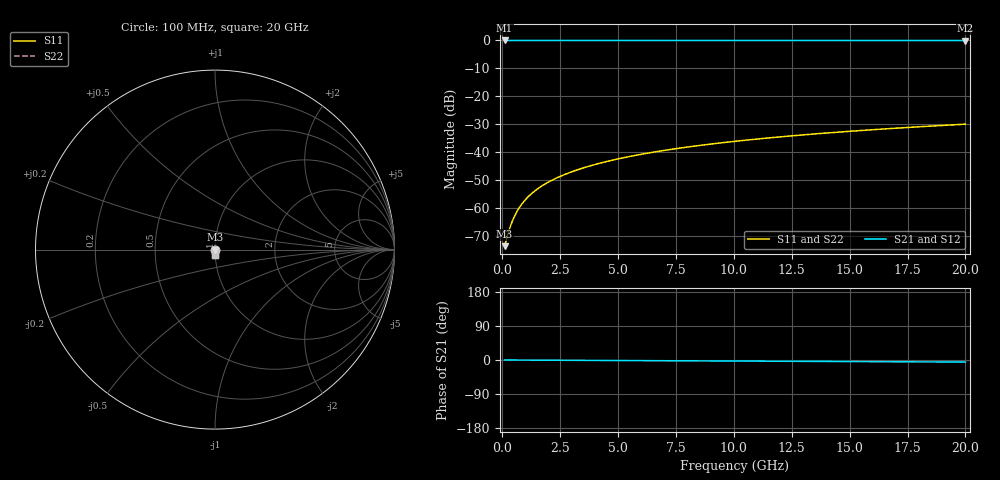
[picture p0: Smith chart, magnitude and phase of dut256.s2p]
! Touchstone file exported from HFSS 2026.1.0
!  File:  C:/ffzhzh/LocalFiles/Ansys_Project_Files/temp_train_TSV_256_1782992990_6248.aedt
!  Generated:  07:51:26 PM Jul  2, 2026
!  Design:  TSV
!  Project:  temp_train_TSV_256_1782992990_6248
! Variables:
!  h_bsmrdl = 2um
!  h_ox = 20um
!  h_rdl = 5um
!  h_sub = 54.06um
!  h_tmrdl = 5um
!  h_tsv = 54.06um
!  h_via = 3um
!  l_bsmrdl = 300um
!  l_sub = 413.62um
!  l_tmrdl = 200um
!  m_sub = 200um
!  pitch = 20.21um
!  r_tsv = 6.81um
!  s_tmrdl = 10um
!  w_bsmrdl = 18um
!  w_sub = 500um
!  w_tmrdl = 12um
!  x_tsv_center1 = 206um
!  x_tsv_center2 = 524um
!  x_tsv_center3 = 736um
!  x_tsv_center4 = 1054um
!  x_tsv_center5 = 1266um
!  x_tsv_center6 = 1584um
# GHz S MA R 50.000000
! Terminal data exported
! Port[1] = TSV1_1_T1
! Port[2] = TSV1_1_T2
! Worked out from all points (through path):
!   200 points, 100 MHz to 20 GHz, reference 50 ohm
!   highest |S21| = 0.00 dB at 100 MHz (marker M1); lowest = 0.0 dB at 20 GHz (marker M2)
!   lowest |S11| = -73.5 dB at 100 MHz (marker M3), VSWR 1.00, Z = 50 - j0.0111 ohm
!   |S11| at or under -10 dB: start of sweep to end of sweep
!   |S22| runs from -73.5 to -29.9 dB; largest |S21 - S12| = 2.3e-15
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0.1  0.0002113 -31.5  0.9998 -0.0  0.9998 -0.0  0.0002113 -31.5
! Gamma 0 0 0 0
! Port Impedance 50 0 50 0
0.2  0.0003012 -48.9  0.9998 -0.1  0.9998 -0.1  0.0003012 -48.9
0.3  0.0004168 -57.8  0.9998 -0.1  0.9998 -0.1  0.0004168 -57.8
0.4  0.0005472 -63.0  0.9998 -0.1  0.9998 -0.1  0.0005472 -63.0
0.5  0.0006865 -66.6  0.9997 -0.1  0.9997 -0.1  0.0006865 -66.6
0.6  0.0008313 -69.2  0.9997 -0.2  0.9997 -0.2  0.0008313 -69.2
0.8  0.00113 -73.0  0.9997 -0.2  0.9997 -0.2  0.00113 -73.0
1.1  0.001585 -76.6  0.9996 -0.3  0.9996 -0.3  0.001585 -76.6
1.3  0.00189 -78.3  0.9996 -0.4  0.9996 -0.4  0.00189 -78.3
1.5  0.002196 -79.5  0.9996 -0.4  0.9996 -0.4  0.002196 -79.5
1.8  0.002655 -80.9  0.9996 -0.5  0.9996 -0.5  0.002655 -80.9
2.1  0.003115 -82.0  0.9995 -0.6  0.9995 -0.6  0.003115 -82.0
2.7  0.004041 -83.4  0.9995 -0.8  0.9995 -0.8  0.004041 -83.4
3.5  0.005287 -84.6  0.9994 -1.0  0.9994 -1.0  0.005287 -84.6
4.2  0.006389 -85.4  0.9993 -1.2  0.9993 -1.2  0.006389 -85.4
5  0.007659 -86.1  0.9993 -1.4  0.9993 -1.4  0.007659 -86.1
6.8  0.01054 -87.3  0.9991 -1.9  0.9991 -1.9  0.01054 -87.3
8.3  0.01296 -88.2  0.999 -2.3  0.999 -2.3  0.01296 -88.2
10.1  0.01588 -89.1  0.9988 -2.8  0.9988 -2.8  0.01588 -89.1
13.4  0.02123 -90.5  0.9986 -3.7  0.9986 -3.7  0.02123 -90.5
16.7  0.02659 -91.7  0.9983 -4.6  0.9983 -4.6  0.02659 -91.7
20  0.03197 -92.8  0.998 -5.5  0.998 -5.5  0.03197 -92.8
